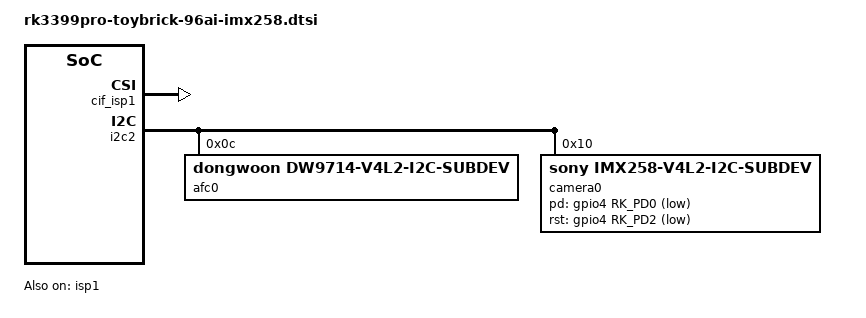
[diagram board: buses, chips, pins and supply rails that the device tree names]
/*
 * Copyright (c) 2018 Fuzhou Rockchip Electronics Co., Ltd
 *
 * This file is dual-licensed: you can use it either under the terms
 * of the GPL or the X11 license, at your option. Note that this dual
 * licensing only applies to this file, and not this project as a
 * whole.
 *
 *  a) This file is free software; you can redistribute it and/or
 *     modify it under the terms of the GNU General Public License as
 *     published by the Free Software Foundation; either version 2 of the
 *     License, or (at your option) any later version.
 *
 *     This file is distributed in the hope that it will be useful,
 *     but WITHOUT ANY WARRANTY; without even the implied warranty of
 *     MERCHANTABILITY or FITNESS FOR A PARTICULAR PURPOSE.  See the
 *     GNU General Public License for more details.
 *
 * Or, alternatively,
 *
 *  b) Permission is hereby granted, free of charge, to any person
 *     obtaining a copy of this software and associated documentation
 *     files (the "Software"), to deal in the Software without
 *     restriction, including without limitation the rights to use,
 *     copy, modify, merge, publish, distribute, sublicense, and/or
 *     sell copies of the Software, and to permit persons to whom the
 *     Software is furnished to do so, subject to the following
 *     conditions:
 *
 *     The above copyright notice and this permission notice shall be
 *     included in all copies or substantial portions of the Software.
 *
 *     THE SOFTWARE IS PROVIDED "AS IS", WITHOUT WARRANTY OF ANY KIND,
 *     EXPRESS OR IMPLIED, INCLUDING BUT NOT LIMITED TO THE WARRANTIES
 *     OF MERCHANTABILITY, FITNESS FOR A PARTICULAR PURPOSE AND
 *     NONINFRINGEMENT. IN NO EVENT SHALL THE AUTHORS OR COPYRIGHT
 *     HOLDERS BE LIABLE FOR ANY CLAIM, DAMAGES OR OTHER LIABILITY,
 *     WHETHER IN AN ACTION OF CONTRACT, TORT OR OTHERWISE, ARISING
 *     FROM, OUT OF OR IN CONNECTION WITH THE SOFTWARE OR THE USE OR
 *     OTHER DEALINGS IN THE SOFTWARE.
 */


&cif_isp1 {
	rockchip,camera-modules-attached = <&camera0>;
	status = "okay";
};

&isp1 {
	status = "okay";
};

&isp1_mmu {
	status = "okay";
};

&pinctrl {
	cam_mclk {
		cam_default_pins: cam-default-pins {
			rockchip,pins = <2 11 RK_FUNC_3 &pcfg_pull_none>;
		};
	};
};

&i2c2 {
	status = "okay";

	afc0: af-controller@0 {
		status = "okay";
		compatible = "dongwoon,dw9714-v4l2-i2c-subdev";
		reg = <0x0C>;

		rockchip,vcm-start-current = <20>;
		rockchip,vcm-rated-current = <76>;
		rockchip,vcm-step-mode = <0>;
	};

	camera0: camera-module@10 {
		status = "okay";
		compatible = "sony,imx258-v4l2-i2c-subdev";
		reg = <0x10>;
		device_type = "v4l2-i2c-subdev";
		clocks = <&cru SCLK_CIF_OUT>;
		clock-names = "clk_cif_out";

		pinctrl-names = "default";
		pinctrl-0 = <&cam_default_pins>;

		rockchip,pd-gpio = <&gpio4 RK_PD0 GPIO_ACTIVE_LOW>;
		rockchip,rst-gpio = <&gpio4 RK_PD2 GPIO_ACTIVE_LOW>;

		rockchip,camera-module-mclk-name = "clk_cif_out";
		rockchip,camera-module-facing = "back";
		rockchip,camera-module-name = "MDG001";
		rockchip,camera-module-len-name = "NONE";
		rockchip,camera-module-fov-h = "80";
		rockchip,camera-module-fov-v = "65";
		rockchip,camera-module-orientation = <0>;
		rockchip,camera-module-iq-flip = <0>;
		rockchip,camera-module-iq-mirror = <0>;
		rockchip,camera-module-flip = <1>;
		rockchip,camera-module-mirror = <1>;
		rockchip,af-ctrl = <&afc0>;

		rockchip,camera-module-defrect0 = <2096 1560 0 0 2096 1560>;
		rockchip,camera-module-defrect1 = <4208 3120 0 0 4208 3120>;
		rockchip,camera-module-flash-support = <0>;
		rockchip,camera-module-mipi-dphy-index = <1>;
		as-master = <0>;
	};

};

